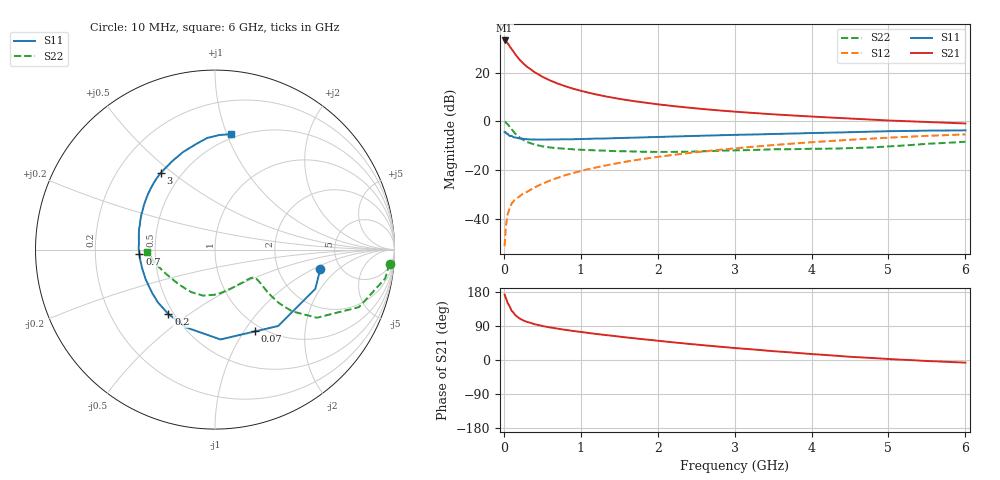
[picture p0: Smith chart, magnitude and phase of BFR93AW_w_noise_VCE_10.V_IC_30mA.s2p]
! Infineon Technologies  Discrete & RF Semiconductors
! BFR93AW
! VCE =  10. V,  IC =  30 mA
! Common Emitter S-Parameters:  Jan 2017
# GHz  S  MA  R  50
!  f  S11  S21  S12  S22
! GHz  MAG  ANG  MAG  ANG  MAG  ANG  MAG  ANG
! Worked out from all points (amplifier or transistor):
!   77 points, 10 MHz to 6 GHz, reference 50 ohm
!   highest |S21| = 33.2 dB at 10 MHz (marker M1)
!   |S21| within 3 dB of that: start of sweep to 88.81 MHz
!   unconditionally stable (mu >= 1): 617.6 MHz to 2.053 GHz
!   at 130 MHz: K = 0.50, MSG = 30.6 dB, |S12| = -32.8 dB
!   at 2.2 GHz: K = 0.99, MSG = 10.0 dB, |S12| = -13.9 dB
!   at 6 GHz: K = 0.86, MSG = 2.2 dB, |S12| = -5.4 dB
!   lowest NFmin = 1.79 dB at 450 MHz
!   S11 on the Smith chart (normalised r, x): 10 MHz: 3.53, -1.19; 70 MHz: 0.92, -1.12; 200 MHz: 0.47, -0.42; 700 MHz: 0.41, -0.02; 3 GHz: 0.39, +0.46; 6 GHz: 0.47, +1.03
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0.01  0.5966 -10.5  45.61 172.8  0.0027 87.3  0.9757 -4.7
0.02  0.6003 -21.4  45.1 166.9  0.005 82.3  0.9614 -9.7
0.05  0.5522 -50.4  40 150.0  0.0123 69.7  0.8637 -21.8
0.07  0.5074 -63.9  35.74 143.3  0.0154 65.7  0.7874 -25.9
0.1  0.5016 -86.5  30.55 130.2  0.0201 62.1  0.6828 -33.8
0.15  0.4625 -110.2  23.52 118.1  0.0249 59.1  0.5501 -38.7
0.2  0.4432 -125.9  18.75 110.3  0.0281 59.8  0.467 -39.9
0.25  0.4333 -137.1  15.54 104.6  0.0327 59.7  0.4127 -39.6
0.3  0.4254 -145.5  13.16 100.6  0.0351 61.3  0.3742 -38.9
0.4  0.4203 -156.9  10.13 94.4  0.0434 64.1  0.3304 -37.1
0.5  0.419 -165.4  8.187 89.8  0.0517 66.3  0.3045 -36.0
0.6  0.4205 -171.8  6.889 86.0  0.0602 67.1  0.2884 -35.4
0.7  0.4221 -176.9  5.938 82.7  0.0685 68.9  0.2779 -35.2
0.9  0.4253 174.7  4.653 76.7  0.0859 69.4  0.2643 -36.4
1.1  0.4336 167.9  3.853 71.4  0.1037 69.9  0.2551 -38.7
1.5  0.4502 156.6  2.879 61.8  0.1386 68.5  0.2412 -46.3
2.1  0.4785 142.7  2.135 48.8  0.1935 64.8  0.2335 -63.2
3  0.5236 125.2  1.57 31.6  0.276 57.7  0.2515 -90.8
3.1  0.527 123.4  1.53 30.1  0.2852 56.7  0.253 -93.6
4.1  0.575 106.9  1.222 14.4  0.3783 47.0  0.2711 -122.2
5.1  0.6258 92.8  1.019 1.6  0.466 36.2  0.3093 -156.0
6  0.6489 82.2  0.897 -7.0  0.5357 26.1  0.3775 -178.3
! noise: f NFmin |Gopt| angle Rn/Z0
0.45  1.79  0.18  173  0.16
0.9  2.06  0.26  -175  0.16
1.9  3.1  0.5  -135  0.29
2.4  3.75  0.55  -124  0.55
